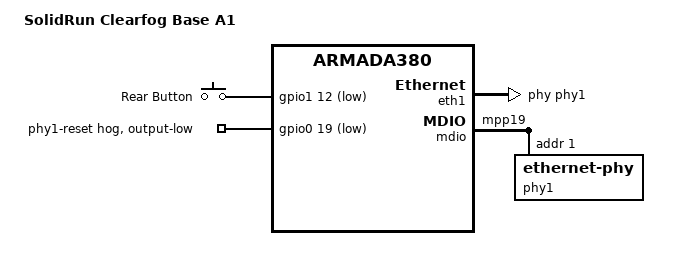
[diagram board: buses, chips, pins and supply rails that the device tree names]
/dts-v1/;
#include "armada-388-clearfog.dtsi"
/ {
	model = "SolidRun Clearfog Base A1";
	compatible = "solidrun,clearfog-base-a1",
		"solidrun,clearfog-a1", "marvell,armada388",
		"marvell,armada385", "marvell,armada380";
	gpio-keys {
		compatible = "gpio-keys";
		pinctrl-0 = <&rear_button_pins>;
		pinctrl-names = "default";
		button-0 {
			label = "Rear Button";
			gpios = <&gpio1 12 GPIO_ACTIVE_LOW>;
			linux,can-disable;
			linux,code = <BTN_0>;
		};
	};
};
&eth1 {
	phy = <&phy1>;
};
&gpio0 {
	phy1_reset {
		gpio-hog;
		gpios = <19 GPIO_ACTIVE_LOW>;
		output-low;
		line-name = "phy1-reset";
	};
};
&mdio {
	pinctrl-0 = <&mdio_pins &microsom_phy_clk_pins &clearfog_phy_pins>;
	phy1: ethernet-phy@1 {
		marvell,reg-init = <3 16 0 0x101e>;
		reg = <1>;
	};
};
&pinctrl {
	clearfog_phy_pins: clearfog-phy-pins {
		marvell,pins = "mpp19";
		marvell,function = "gpio";
	};
	rear_button_pins: rear-button-pins {
		marvell,pins = "mpp44";
		marvell,function = "gpio";
	};
};
